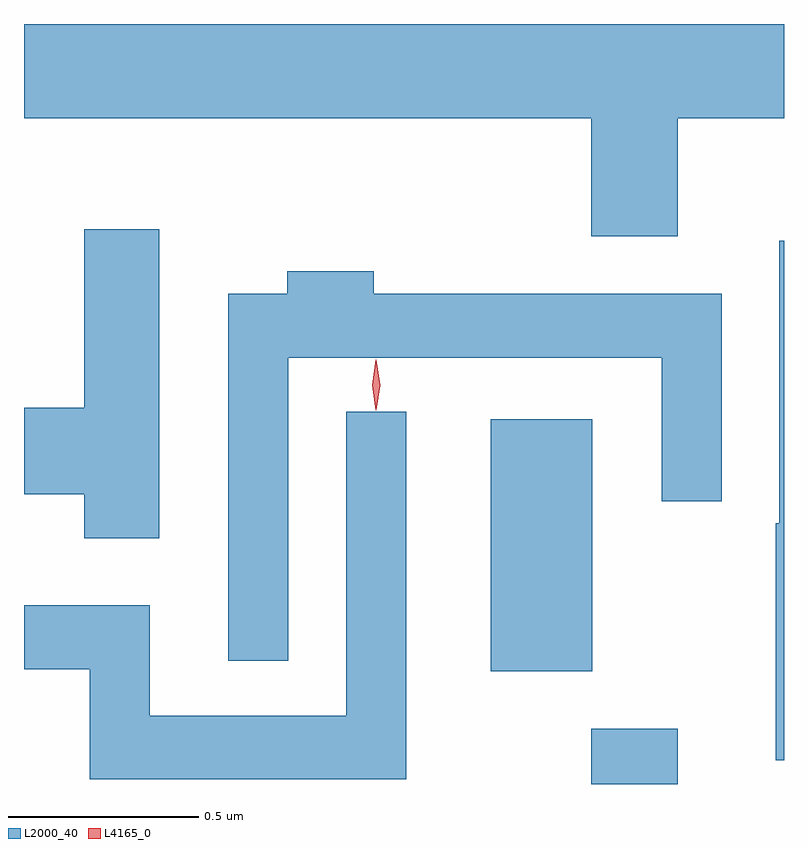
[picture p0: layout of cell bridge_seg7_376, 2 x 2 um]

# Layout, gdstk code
import gdstk
lib = gdstk.Library(unit=1e-6, precision=1e-09)
def R(c, l, rs):  # rectangles x0, y0, x1, y1
    for r in rs: c.add(gdstk.rectangle(r[:2], r[2:], *l))
def P(c, l, *ps):  # polygons
    for p in ps: c.add(gdstk.Polygon(p, *l))
L2000_40 = (2000, 40)
L4165_0 = (4165, 0)

bridge_seg7_376 = lib.new_cell('bridge_seg7_376')
R(bridge_seg7_376, L2000_40, [(1159.391,1768.064,1159.619,1768.209), (1159.126,1768.361,1159.394,1769.024)])
P(bridge_seg7_376, L2000_40, [(1159.619,1769.816),(1159.898,1769.816),(1159.898,1770.064),(1157.898,1770.064),(1157.898,1769.816),(1159.391,1769.816),(1159.391,1769.506),(1159.619,1769.506)],
  [(1158.254,1769.524),(1158.056,1769.524),(1158.056,1769.054),(1157.898,1769.054),(1157.898,1768.826),(1158.056,1768.826),(1158.056,1768.711),(1158.254,1768.711)],
  [(1159.898,1769.493),(1159.886,1769.493),(1159.886,1768.75),(1159.876,1768.75),(1159.876,1768.126),(1159.898,1768.126)],
  [(1158.594,1769.186),(1159.576,1769.186),(1159.576,1768.808),(1159.734,1768.808),(1159.734,1769.354),(1158.819,1769.354),(1158.819,1769.414),(1158.591,1769.414),(1158.591,1769.354),(1158.436,1769.354),(1158.436,1768.388),(1158.594,1768.388)],
  [(1158.904,1769.043),(1158.746,1769.043),(1158.746,1768.244),(1158.229,1768.244),(1158.229,1768.534),(1157.898,1768.534),(1157.898,1768.366),(1158.071,1768.366),(1158.071,1768.076),(1158.904,1768.076)])
P(bridge_seg7_376, L4165_0, [(1158.825,1769.047),(1158.824,1769.048),(1158.815,1769.114),(1158.824,1769.18),(1158.825,1769.181),(1158.825,1769.18),(1158.835,1769.114),(1158.825,1769.048)])

lib.write_gds('bridge_seg7_376.gds')
